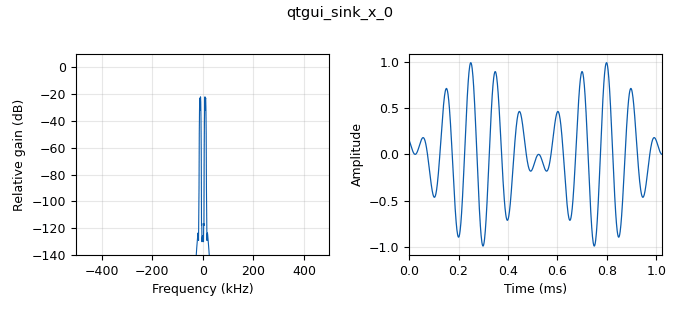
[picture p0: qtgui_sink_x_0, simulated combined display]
options:
  parameters:
    author: duong
    generate_options: qt_gui
    id: SDuongR
    output_language: python
    title: SDuongR
  states: {}

blocks:
- name: samp_rate
  id: variable
  parameters:
    value: '1000000'
  states: {}
- name: analog_sig_source_x_0
  id: analog_sig_source_x
  parameters:
    amp: '1'
    freq: '1000'
    offset: '0'
    phase: '0'
    samp_rate: samp_rate
    type: float
    waveform: analog.GR_SIN_WAVE
  states: {}
- name: analog_sig_source_x_0_0
  id: analog_sig_source_x
  parameters:
    amp: '1'
    freq: '10000'
    offset: '0'
    phase: '0'
    samp_rate: samp_rate
    type: float
    waveform: analog.GR_SIN_WAVE
  states: {}
- name: audio_sink_0
  id: audio_sink
  parameters:
    device_name: plughw:CARD=AudioPCI,DEV=0
    samp_rate: '48000'
  states: {}
- name: blocks_multiply_xx_0
  id: blocks_multiply_xx
  parameters:
    type: float
  states: {}
- name: qtgui_sink_x_0
  id: qtgui_sink_x
  parameters:
    bw: samp_rate
    fc: '0'
    fftsize: '1024'
    type: float
  states: {}
- name: rational_resampler_xxx_0
  id: rational_resampler_xxx
  parameters:
    decim: '1'
    fbw: '0.49'
    interp: '48'
    type: fff
  states: {}

connections:
- [analog_sig_source_x_0, '0', blocks_multiply_xx_0, '0']
- [analog_sig_source_x_0, '0', rational_resampler_xxx_0, '0']
- [analog_sig_source_x_0_0, '0', blocks_multiply_xx_0, '1']
- [blocks_multiply_xx_0, '0', qtgui_sink_x_0, '0']
- [rational_resampler_xxx_0, '0', audio_sink_0, '0']

metadata:
  file_format: 1
  grc_version: 3.10.11.0
